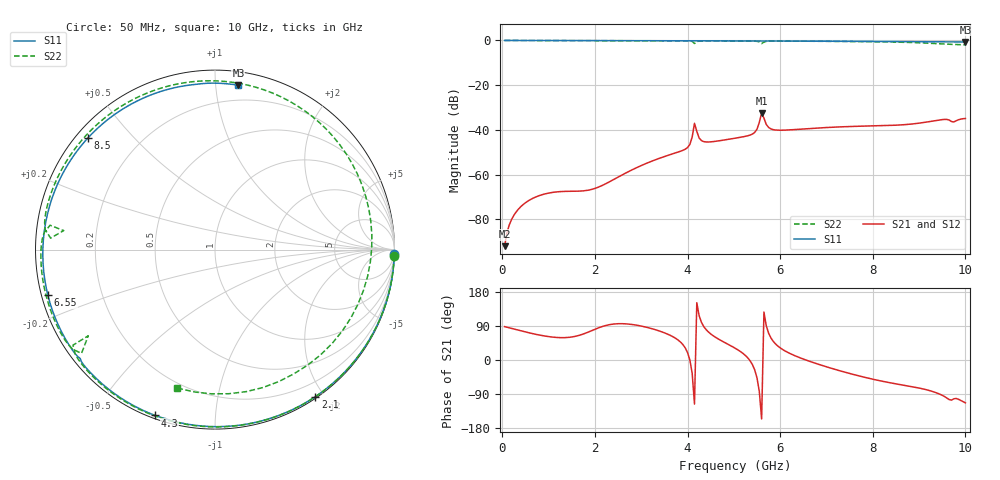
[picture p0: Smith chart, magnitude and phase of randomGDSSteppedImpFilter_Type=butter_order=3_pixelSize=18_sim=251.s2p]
! freq	dB(S11)	phase(S11)	dB(S12)	phase(S12)
!  dB(S21)	phase(S21)	dB(S22)	phase(S22)
!S-par simulation data
#  GHz  S  DB  R 50
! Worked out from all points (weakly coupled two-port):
!   200 points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, 50 MHz to 10 GHz, reference 50 ohm
!   highest |S21| = -32.42 dB at 5.6 GHz (marker M1); lowest = -92.0 dB at 50 MHz (marker M2)
!   lowest |S11| = -0.7 dB at 10 GHz (marker M3), VSWR 25.68, Z = 4.53 + j57.4 ohm
!   |S11| at or under -10 dB: nowhere
!   |S22| runs from -1.9 to 0.0 dB; largest |S21 - S12| = 0
!   S11 on the Smith chart (normalised r, x): 50 MHz: 1, -83; 2.1 GHz: 0.02, -1.89; 4.3 GHz: 0.01, -0.70; 6.55 GHz: 0.02, -0.13; 8.5 GHz: 0.03, +0.38; 10 GHz: 0.09, +1.15
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0.05  -0.00 -1.4  -92.03 88.0  -92.03 88.0  -0.00 -2.0
0.8  -0.03 -21.6  -69.40 65.9  -69.40 65.9  -0.04 -31.8
1.75  -0.06 -46.7  -67.29 68.6  -67.29 68.6  -0.08 -67.4
2.1  -0.07 -55.7  -65.41 85.9  -65.41 85.9  -0.09 -79.8
3.4  -0.12 -88.1  -52.67 76.2  -52.67 76.2  -0.14 -122.1
4  -0.14 -102.7  -47.92 19.6  -47.92 19.6  -0.20 -141.2
4.1  -0.15 -105.1  -43.25 -34.7  -43.25 -34.7  -0.41 -146.1
4.15  -0.17 -106.3  -37.07 -116.3  -37.07 -116.3  -1.37 -145.8
4.3  -0.16 -109.8  -44.79 99.6  -44.79 99.6  -0.23 -147.2
5.05  -0.20 -127.8  -43.65 29.5  -43.65 29.5  -0.23 -170.5
5.45  -0.22 -137.5  -41.15 -25.9  -41.15 -25.9  -0.32 176.4
5.6  -0.31 -141.1  -32.42 -155.6  -32.42 -155.6  -1.42 172.8
5.8  -0.25 -145.8  -39.56 58.4  -39.56 58.4  -0.32 169.1
6.55  -0.31 -164.7  -39.53 0.2  -39.53 0.2  -0.34 143.8
6.7  -0.32 -168.6  -39.32 -6.2  -39.32 -6.2  -0.36 138.6
7.65  -0.42 165.1  -38.41 -40.4  -38.41 -40.4  -0.49 100.9
8.35  -0.50 143.5  -38.04 -59.5  -38.04 -59.5  -0.67 63.9
8.5  -0.52 138.6  -37.91 -62.9  -37.91 -62.9  -0.74 54.2
8.95  -0.57 122.9  -37.13 -72.8  -37.13 -72.8  -1.01 19.5
9.3  -0.61 109.9  -36.04 -83.4  -36.04 -83.4  -1.33 -15.2
9.7  -0.65 94.4  -36.28 -105.8  -36.28 -105.8  -1.76 -64.1
10  -0.68 81.9  -34.90 -113.1  -34.90 -113.1  -1.94 -105.2
